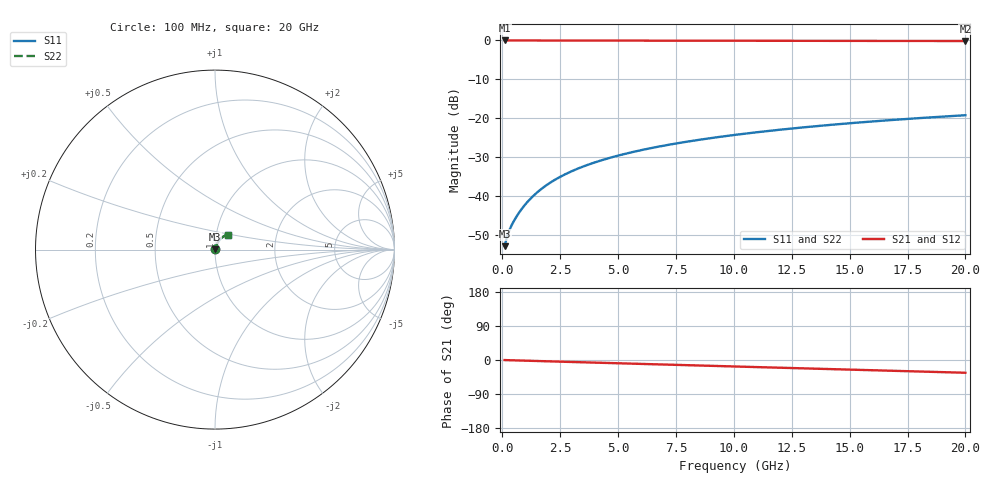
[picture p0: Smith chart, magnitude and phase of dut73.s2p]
! Touchstone file exported from HFSS 2026.1.0
!  File:  C:/ffzhzh/LocalFiles/Ansys_Project_Files/temp_train_BSMRDL_73_1782882940_13352.aedt
!  Generated:  01:16:55 PM Jul  1, 2026
!  Design:  BSMRDL
!  Project:  temp_train_BSMRDL_73_1782882940_13352
! Variables:
!  h_bsmrdl = 4.55um
!  h_ox = 20um
!  h_rdl = 5um
!  h_sub = 80um
!  h_tmrdl = 5um
!  h_tsv = 80um
!  h_via = 3um
!  l_bsmrdl = 580.29um
!  l_sub = 980.29um
!  l_tmrdl = 200um
!  m_sub = 200um
!  pitch = 34.98um
!  r_tsv = 6um
!  s_tmrdl = 10um
!  w_bsmrdl = 26.29um
!  w_sub = 500um
!  w_tmrdl = 12um
!  x_tsv_center1 = 206um
!  x_tsv_center2 = 812.58um
!  x_tsv_center3 = 1024.58um
!  x_tsv_center4 = 1631.16um
!  x_tsv_center5 = 1843.16um
!  x_tsv_center6 = 2449.74um
# GHz S MA R 50.000000
! Terminal data exported
! Port[1] = BSM_RDL1_1_T1
! Port[2] = BSM_RDL1_1_T2
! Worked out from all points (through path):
!   200 points, 100 MHz to 20 GHz, reference 50 ohm
!   highest |S21| = -0.02 dB at 100 MHz (marker M1); lowest = -0.2 dB at 20 GHz (marker M2)
!   group delay of S21, straight-line fit = 4.66 ps
!   lowest |S11| = -52.9 dB at 100 MHz (marker M3), VSWR 1.00, Z = 50.2 + j0.105 ohm
!   |S11| at or under -10 dB: start of sweep to end of sweep
!   |S22| runs from -52.9 to -19.3 dB; largest |S21 - S12| = 4e-15
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0.1  0.002256 27.7  0.998 -0.2  0.998 -0.2  0.002256 27.7
! Gamma 0 0 0 0
! Port Impedance 50 0 50 0
0.2  0.002951 39.6  0.9977 -0.4  0.9977 -0.4  0.002951 39.6
0.3  0.003586 45.9  0.9975 -0.6  0.9975 -0.6  0.003586 45.9
0.4  0.004173 50.5  0.9974 -0.7  0.9974 -0.7  0.004173 50.5
0.5  0.004752 54.3  0.9973 -0.9  0.9973 -0.9  0.004752 54.3
0.8  0.006553 62.3  0.9971 -1.4  0.9971 -1.4  0.006553 62.3
1  0.007812 65.6  0.997 -1.8  0.997 -1.8  0.007812 65.6
1.2  0.009099 67.9  0.9969 -2.1  0.9969 -2.1  0.009099 67.9
1.4  0.0104 69.5  0.9967 -2.5  0.9967 -2.5  0.0104 69.5
1.7  0.01237 71.1  0.9965 -3.0  0.9965 -3.0  0.01237 71.1
2.2  0.01564 72.4  0.9962 -3.9  0.9962 -3.9  0.01564 72.4
2.8  0.01951 72.7  0.9956 -4.9  0.9956 -4.9  0.01951 72.8
3.5  0.02391 72.5  0.995 -6.1  0.995 -6.1  0.02391 72.5
4.2  0.02821 71.9  0.9943 -7.3  0.9943 -7.3  0.0282 71.9
5  0.03298 71.0  0.9936 -8.7  0.9936 -8.7  0.03298 71.0
5.9  0.0382 69.9  0.9927 -10.2  0.9927 -10.2  0.0382 69.9
6.8  0.0433 68.8  0.9919 -11.7  0.9919 -11.7  0.0433 68.8
8.3  0.05157 66.8  0.9906 -14.2  0.9906 -14.2  0.05156 66.8
10.1  0.06118 64.3  0.9891 -17.2  0.9891 -17.2  0.06117 64.4
13.4  0.07809 59.6  0.9865 -22.7  0.9865 -22.7  0.07808 59.7
16.7  0.09407 54.8  0.9839 -28.2  0.9839 -28.2  0.09406 54.9
20  0.109 49.9  0.9814 -33.7  0.9814 -33.7  0.109 50.0
